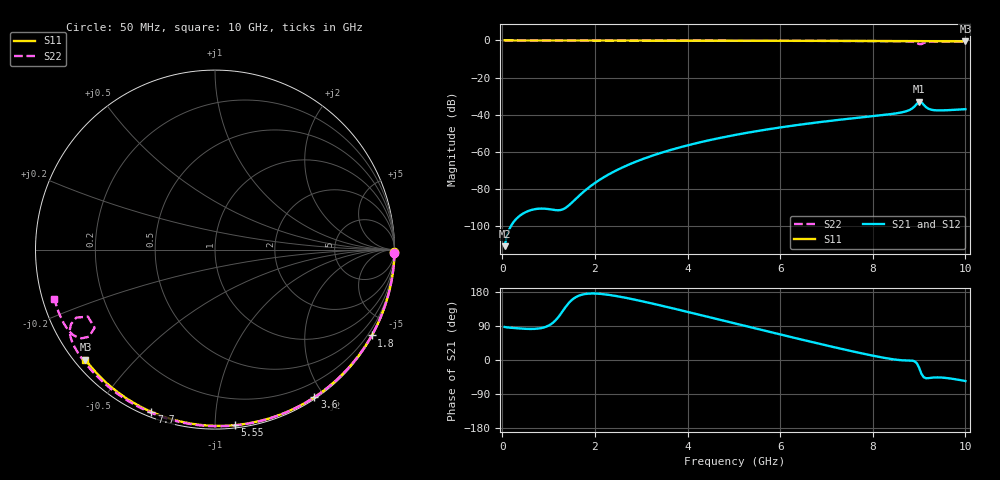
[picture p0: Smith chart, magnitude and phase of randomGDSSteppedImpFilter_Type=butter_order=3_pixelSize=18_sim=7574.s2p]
! freq	dB(S11)	phase(S11)	dB(S12)	phase(S12)
!  dB(S21)	phase(S21)	dB(S22)	phase(S22)
!S-par simulation data
#  GHz  S  DB  R 50
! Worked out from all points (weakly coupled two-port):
!   200 points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, 50 MHz to 10 GHz, reference 50 ohm
!   highest |S21| = -33.00 dB at 9 GHz (marker M1); lowest = -110.7 dB at 50 MHz (marker M2)
!   lowest |S11| = -0.5 dB at 10 GHz (marker M3), VSWR 36.83, Z = 1.54 - j18.4 ohm
!   |S11| at or under -10 dB: nowhere
!   |S22| runs from -1.9 to 0.0 dB; largest |S21 - S12| = 0
!   S11 on the Smith chart (normalised r, x): 50 MHz: open; 1.8 GHz: 0.03, -3.91; 3.6 GHz: 0.02, -1.88; 5.55 GHz: 0.02, -1.12; 7.7 GHz: 0.02, -0.68; 10 GHz: 0.03, -0.37
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0.05  -0.00 -0.8  -110.72 87.1  -110.72 87.1  -0.00 -1.0
0.85  -0.02 -13.7  -90.49 84.4  -90.49 84.4  -0.02 -16.1
1.75  -0.04 -27.9  -81.56 173.2  -81.56 173.2  -0.04 -32.8
1.8  -0.04 -28.7  -80.50 174.3  -80.50 174.3  -0.04 -33.8
2.2  -0.04 -34.9  -73.51 173.4  -73.51 173.4  -0.05 -41.0
2.5  -0.05 -39.5  -69.48 167.9  -69.48 167.9  -0.06 -46.4
2.9  -0.06 -45.6  -65.10 158.2  -65.10 158.2  -0.07 -53.5
3.4  -0.07 -53.1  -60.70 144.5  -60.70 144.5  -0.08 -62.2
3.6  -0.08 -56.0  -59.19 138.7  -59.19 138.7  -0.09 -65.6
5.05  -0.12 -76.7  -50.76 95.7  -50.76 95.7  -0.14 -89.5
5.55  -0.14 -83.5  -48.57 80.8  -48.57 80.8  -0.16 -97.4
6.7  -0.19 -98.7  -44.44 47.0  -44.44 47.0  -0.22 -115.1
7.7  -0.25 -111.4  -41.54 19.1  -41.54 19.1  -0.30 -130.3
8.35  -0.31 -119.5  -39.76 3.5  -39.76 3.5  -0.37 -140.5
8.75  -0.34 -124.4  -37.87 -1.3  -37.87 -1.3  -0.50 -148.2
8.9  -0.35 -126.2  -35.57 -3.2  -35.57 -3.2  -0.88 -152.6
9  -0.36 -127.4  -33.00 -20.2  -33.00 -20.2  -1.93 -152.2
9.05  -0.36 -128.1  -33.24 -36.2  -33.24 -36.2  -1.94 -147.0
9.1  -0.37 -128.7  -34.63 -45.6  -34.63 -45.6  -1.38 -145.4
9.2  -0.38 -129.9  -36.71 -47.9  -36.71 -47.9  -0.80 -147.8
9.3  -0.39 -131.1  -37.44 -46.4  -37.44 -46.4  -0.64 -150.3
10  -0.47 -139.6  -36.98 -55.5  -36.98 -55.5  -0.57 -162.9
